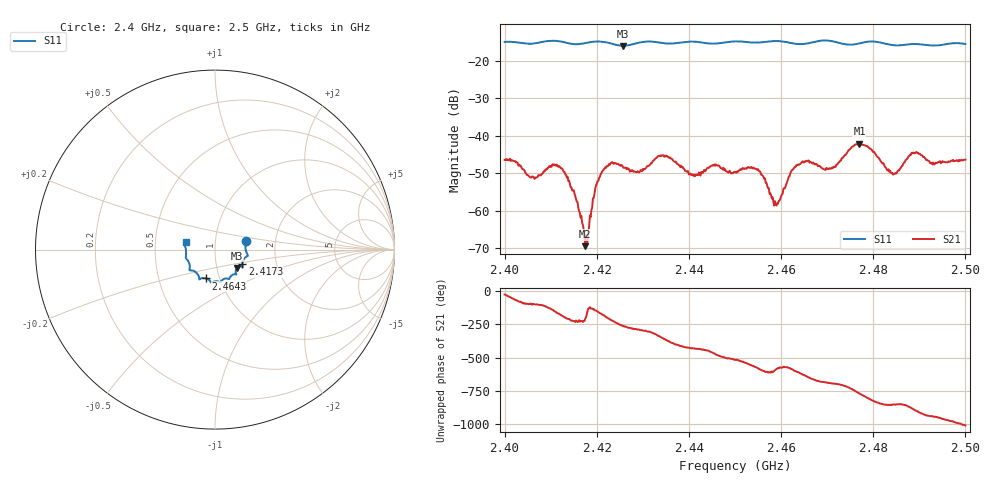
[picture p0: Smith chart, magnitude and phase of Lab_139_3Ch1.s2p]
# Hz S RI R 50
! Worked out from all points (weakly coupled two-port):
!   601 points, 2.4 GHz to 2.5 GHz, reference 50 ohm
!   highest |S21| = -42.11 dB at 2.477 GHz (marker M1); lowest = -69.5 dB at 2.4175 GHz (marker M2)
!   lowest |S11| = -15.9 dB at 2.4257 GHz (marker M3), VSWR 1.38, Z = 62.4 - j13.1 ohm
!   |S11| at or under -10 dB: start of sweep to end of sweep
!   S12 and S22 are empty: the file has one direction only
!   S11 on the Smith chart (normalised r, x): 2.4 GHz: 1.41, +0.14; 2.4173 GHz: 1.34, -0.23; 2.4643 GHz: 0.86, -0.28; 2.5 GHz: 0.72, +0.06
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2.4e9  0.1732 0.0497  0.00436 -0.00192  0 0  0 0
2.406e9  0.1708 0.000966  -0.00055 -0.00281  0 0  0 0
2.412167e9  0.1786 -0.037  -0.00369 -6.44e-05  0 0  0 0
2.416667e9  0.1527 -0.0745  -0.000606 0.000596  0 0  0 0
2.417333e9  0.1523 -0.0819  -0.000346 0.00032  0 0  0 0
2.4175e9  0.1523 -0.0837  -0.000304 0.00014  0 0  0 0
2.421e9  0.1541 -0.0963  -0.00312 -0.000608  0 0  0 0
2.425667e9  0.1225 -0.1023  -0.000576 0.0038  0 0  0 0
2.429333e9  0.1168 -0.1331  0.00121 0.00306  0 0  0 0
2.433333e9  0.1129 -0.1367  0.00491 0.00218  0 0  0 0
2.4405e9  0.0791 -0.164  0.000961 -0.00282  0 0  0 0
2.4455e9  0.0515 -0.1629  -0.0013 -0.00394  0 0  0 0
2.45e9  0.0296 -0.1808  -0.00304 -0.00125  0 0  0 0
2.455e9  0.00153 -0.1768  -0.00274 0.00229  0 0  0 0
2.459e9  -0.0215 -0.184  -0.000809 0.000846  0 0  0 0
2.464333e9  -0.0502 -0.1606  -0.000677 0.00428  0 0  0 0
2.466667e9  -0.0761 -0.16  0.00224 0.0038  0 0  0 0
2.471333e9  -0.0873 -0.1611  0.00347 0.00164  0 0  0 0
2.477e9  -0.1267 -0.1164  0.00485 -0.00616  0 0  0 0
2.483333e9  -0.1408 -0.0896  -0.0026 -0.00244  0 0  0 0
2.488833e9  -0.1621 -0.0469  -0.00583 -0.000758  0 0  0 0
2.5e9  -0.1634 0.0422  0.00185 0.00442  0 0  0 0
